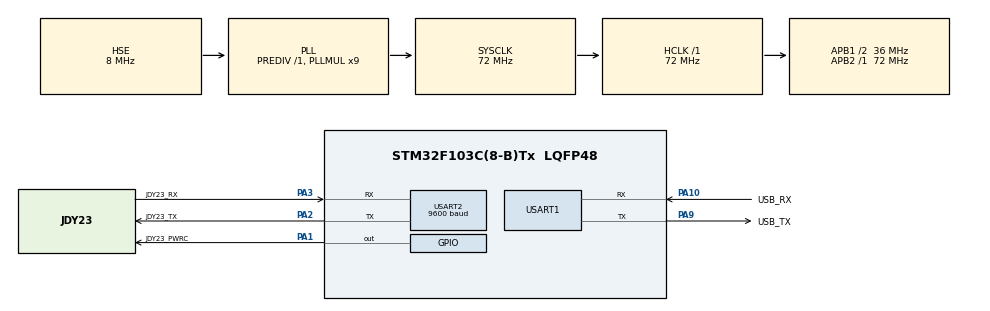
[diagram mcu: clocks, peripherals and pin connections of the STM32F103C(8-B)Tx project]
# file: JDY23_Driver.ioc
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Dma.Request0=USART2_RX
Dma.USART2_RX.0.Direction=DMA_PERIPH_TO_MEMORY
Dma.USART2_RX.0.Instance=DMA1_Channel6
Dma.USART2_RX.0.MemDataAlignment=DMA_MDATAALIGN_BYTE
Dma.USART2_RX.0.MemInc=DMA_MINC_ENABLE
Dma.USART2_RX.0.Mode=DMA_NORMAL
Dma.USART2_RX.0.PeriphDataAlignment=DMA_PDATAALIGN_BYTE
Dma.USART2_RX.0.PeriphInc=DMA_PINC_DISABLE
Dma.USART2_RX.0.Priority=DMA_PRIORITY_LOW
Mcu.Family=STM32F1
Mcu.Name=STM32F103C(8-B)Tx
Mcu.Package=LQFP48
NVIC.DMA1_Channel6_IRQn=true\:0\:0\:false\:false\:true\:false\:true\:true
NVIC.PriorityGroup=NVIC_PRIORITYGROUP_4
PA1.GPIO_Label=JDY23_PWRC
PA1.GPIO_PuPd=GPIO_PULLUP
PA1.PinState=GPIO_PIN_SET
PA1.Signal=GPIO_Output
PA10.GPIO_Label=USB_RX
PA10.Mode=Asynchronous
PA10.Signal=USART1_RX
PA13.Mode=Serial_Wire
PA13.Signal=SYS_JTMS-SWDIO
PA14.Mode=Serial_Wire
PA14.Signal=SYS_JTCK-SWCLK
PA2.GPIO_Label=JDY23_TX
PA2.Mode=Asynchronous
PA2.Signal=USART2_TX
PA3.GPIO_Label=JDY23_RX
PA3.GPIO_PuPd=GPIO_NOPULL
PA3.Mode=Asynchronous
PA3.Signal=USART2_RX
PA9.GPIO_Label=USB_TX
PA9.Mode=Asynchronous
PA9.Signal=USART1_TX
PD0-OSC_IN.Mode=HSE-External-Oscillator
PD0-OSC_IN.Signal=RCC_OSC_IN
PD1-OSC_OUT.Mode=HSE-External-Oscillator
PD1-OSC_OUT.Signal=RCC_OSC_OUT
ProjectManager.HeapSize=0x200
ProjectManager.StackSize=0x400
ProjectManager.TargetToolchain=Makefile
RCC.AHBFreq_Value=72000000
RCC.APB1CLKDivider=RCC_HCLK_DIV2
RCC.APB1Freq_Value=36000000
RCC.APB1TimFreq_Value=72000000
RCC.APB2Freq_Value=72000000
RCC.APB2TimFreq_Value=72000000
RCC.HCLKFreq_Value=72000000
RCC.PLLMUL=RCC_PLL_MUL9
RCC.PLLSourceVirtual=RCC_PLLSOURCE_HSE
RCC.SYSCLKFreq_VALUE=72000000
RCC.SYSCLKSource=RCC_SYSCLKSOURCE_PLLCLK
RCC.USBFreq_Value=72000000
USART1.VirtualMode=VM_ASYNC
USART2.BaudRate=9600
USART2.VirtualMode=VM_ASYNC
board=custom

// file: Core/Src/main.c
/* USER CODE BEGIN Header */
/**
  ******************************************************************************
  * @file           : main.c
  * @brief          : Main program body
  ******************************************************************************
  * @attention
  *
  * Copyright (c) 2024 STMicroelectronics.
  * All rights reserved.
  *
  * This software is licensed under terms that can be found in the LICENSE file
  * in the root directory of this software component.
  * If no LICENSE file comes with this software, it is provided AS-IS.
  *
  ******************************************************************************
  */
/* USER CODE END Header */
#include "main.h"

/* USER CODE BEGIN Includes */
#include "jdy23_driver.h"
#include <string.h>
/* USER CODE END Includes */

UART_HandleTypeDef huart1;
UART_HandleTypeDef huart2;
DMA_HandleTypeDef hdma_usart2_rx;

void SystemClock_Config(void);
static void MX_GPIO_Init(void);
static void MX_DMA_Init(void);
static void MX_USART1_UART_Init(void);
static void MX_USART2_UART_Init(void);
/* USER CODE BEGIN PFP */
// IO functions
jdy23_status io_read(uint8_t *const data, const uint16_t data_size);
jdy23_status io_external_read(uint8_t *const data, const uint16_t data_size);
jdy23_status io_write(const uint8_t *const data, const uint16_t data_size);
jdy23_status io_set_baudrate(const uint32_t baudrate);
void io_set_pwrc(const bool is_high);
void io_delay(const uint32_t delay);
/* USER CODE END PFP */

int main(void)
{

  /* MCU Configuration--------------------------------------------------------*/

  /* Reset of all peripherals, Initializes the Flash interface and the Systick. */
  HAL_Init();

  /* Configure the system clock */
  SystemClock_Config();

  /* Initialize all configured peripherals */
  MX_GPIO_Init();
  MX_DMA_Init();
  MX_USART1_UART_Init();
  MX_USART2_UART_Init();
  /* USER CODE BEGIN 2 */

  jdy23_create((jdy23_io_functions){
    .io_read = io_read,
    .io_external_read = io_external_read,
    .io_write = io_write,
    .io_set_baudrate = io_set_baudrate,
    .io_set_pwrc = io_set_pwrc,
    .io_delay = io_delay
  });

  jdy23_status status = jdy23_check_link();
  jdy23_check_link();
  jdy23_check_link();
  jdy23_check_link();

  status |= jdy23_set_baudrate(jdy23_determine_baudrate());

  if (status)
    Error_Handler();

  /* USER CODE END 2 */

  /* Infinite loop */
  /* USER CODE BEGIN WHILE */

  static uint8_t data[8];
  static char *string = "Hello from stm32!";
  uint32_t current_tick = HAL_GetTick();

  status |= jdy23_check_link();
  HAL_GPIO_WritePin(
    JDY23_PWRC_GPIO_Port,
    JDY23_PWRC_Pin,
    GPIO_PIN_RESET
  );

  jdy23_read(data, 1);
  while (1)
  {
    /* USER CODE END WHILE */

    /* USER CODE BEGIN 3 */

    if (jdy23_is_data_received())
    {
      (void)jdy23_write((uint8_t*)string, strlen(string) + 1);
      //HAL_UART_Transmit(&huart1, (uint8_t*)data, 1, 100U);

      jdy23_read(data, 1);
    }

    if (HAL_GetTick() - current_tick < 500U)
      continue;

    current_tick = HAL_GetTick();
  }
  /* USER CODE END 3 */
}

void SystemClock_Config(void)
{
  RCC_OscInitTypeDef RCC_OscInitStruct = {0};
  RCC_ClkInitTypeDef RCC_ClkInitStruct = {0};

  /** Initializes the RCC Oscillators according to the specified parameters
  * in the RCC_OscInitTypeDef structure.
  */
  RCC_OscInitStruct.OscillatorType = RCC_OSCILLATORTYPE_HSE;
  RCC_OscInitStruct.HSEState = RCC_HSE_ON;
  RCC_OscInitStruct.HSEPredivValue = RCC_HSE_PREDIV_DIV1;
  RCC_OscInitStruct.HSIState = RCC_HSI_ON;
  RCC_OscInitStruct.PLL.PLLState = RCC_PLL_ON;
  RCC_OscInitStruct.PLL.PLLSource = RCC_PLLSOURCE_HSE;
  RCC_OscInitStruct.PLL.PLLMUL = RCC_PLL_MUL9;
  if (HAL_RCC_OscConfig(&RCC_OscInitStruct) != HAL_OK)
  {
    Error_Handler();
  }

  /** Initializes the CPU, AHB and APB buses clocks
  */
  RCC_ClkInitStruct.ClockType = RCC_CLOCKTYPE_HCLK|RCC_CLOCKTYPE_SYSCLK
                              |RCC_CLOCKTYPE_PCLK1|RCC_CLOCKTYPE_PCLK2;
  RCC_ClkInitStruct.SYSCLKSource = RCC_SYSCLKSOURCE_PLLCLK;
  RCC_ClkInitStruct.AHBCLKDivider = RCC_SYSCLK_DIV1;
  RCC_ClkInitStruct.APB1CLKDivider = RCC_HCLK_DIV2;
  RCC_ClkInitStruct.APB2CLKDivider = RCC_HCLK_DIV1;

  if (HAL_RCC_ClockConfig(&RCC_ClkInitStruct, FLASH_LATENCY_2) != HAL_OK)
  {
    Error_Handler();
  }
}

static void MX_USART1_UART_Init(void)
{

  huart1.Instance = USART1;
  huart1.Init.BaudRate = 115200;
  huart1.Init.WordLength = UART_WORDLENGTH_8B;
  huart1.Init.StopBits = UART_STOPBITS_1;
  huart1.Init.Parity = UART_PARITY_NONE;
  huart1.Init.Mode = UART_MODE_TX_RX;
  huart1.Init.HwFlowCtl = UART_HWCONTROL_NONE;
  huart1.Init.OverSampling = UART_OVERSAMPLING_16;
  if (HAL_UART_Init(&huart1) != HAL_OK)
  {
    Error_Handler();
  }

}

static void MX_USART2_UART_Init(void)
{

  huart2.Instance = USART2;
  huart2.Init.BaudRate = 9600;
  huart2.Init.WordLength = UART_WORDLENGTH_8B;
  huart2.Init.StopBits = UART_STOPBITS_1;
  huart2.Init.Parity = UART_PARITY_NONE;
  huart2.Init.Mode = UART_MODE_TX_RX;
  huart2.Init.HwFlowCtl = UART_HWCONTROL_NONE;
  huart2.Init.OverSampling = UART_OVERSAMPLING_16;
  if (HAL_UART_Init(&huart2) != HAL_OK)
  {
    Error_Handler();
  }

}

static void MX_DMA_Init(void)
{

  /* DMA controller clock enable */
  __HAL_RCC_DMA1_CLK_ENABLE();

  /* DMA interrupt init */
  /* DMA1_Channel6_IRQn interrupt configuration */
  HAL_NVIC_SetPriority(DMA1_Channel6_IRQn, 0, 0);
  HAL_NVIC_EnableIRQ(DMA1_Channel6_IRQn);

}

static void MX_GPIO_Init(void)
{
  GPIO_InitTypeDef GPIO_InitStruct = {0};

  /* GPIO Ports Clock Enable */
  __HAL_RCC_GPIOD_CLK_ENABLE();
  __HAL_RCC_GPIOA_CLK_ENABLE();

  /*Configure GPIO pin Output Level */
  HAL_GPIO_WritePin(JDY23_PWRC_GPIO_Port, JDY23_PWRC_Pin, GPIO_PIN_SET);

  /*Configure GPIO pin : JDY23_PWRC_Pin */
  GPIO_InitStruct.Pin = JDY23_PWRC_Pin;
  GPIO_InitStruct.Mode = GPIO_MODE_OUTPUT_PP;
  GPIO_InitStruct.Pull = GPIO_PULLUP;
  GPIO_InitStruct.Speed = GPIO_SPEED_FREQ_LOW;
  HAL_GPIO_Init(JDY23_PWRC_GPIO_Port, &GPIO_InitStruct);

}

/* USER CODE BEGIN 4 */

void HAL_UART_RxCpltCallback(UART_HandleTypeDef *huart)
{
  jdy23_receive_complete();
}

jdy23_status io_read(uint8_t *const data, const uint16_t data_size)
{
  return (jdy23_status)HAL_UART_Receive(
    &huart2, data, data_size, JDY23_TIMEOUT
  );
}

jdy23_status io_external_read(uint8_t *const data, const uint16_t data_size)
{
  return (jdy23_status)HAL_UART_Receive_DMA(&huart2, data, data_size);
}

jdy23_status io_write(const uint8_t *const data, const uint16_t data_size)
{
  return (jdy23_status)HAL_UART_Transmit(
    &huart2, data, data_size, JDY23_TIMEOUT
  );
}

jdy23_status io_set_baudrate(const uint32_t baudrate)
{
  HAL_UART_Abort_IT(&huart2);
  HAL_UART_DeInit(&huart2);
  huart2.Init.BaudRate = baudrate;

  return (jdy23_status)HAL_UART_Init(&huart2);
}

void io_set_pwrc(const bool is_high)
{
  HAL_GPIO_WritePin(
    JDY23_PWRC_GPIO_Port,
    JDY23_PWRC_Pin,
    is_high ? GPIO_PIN_SET : GPIO_PIN_RESET
  );
}

void io_delay(const uint32_t delay)
{
  HAL_Delay(delay);
}

/* USER CODE END 4 */

void Error_Handler(void)
{
  __disable_irq();
  while (1)
  {
  }
}
